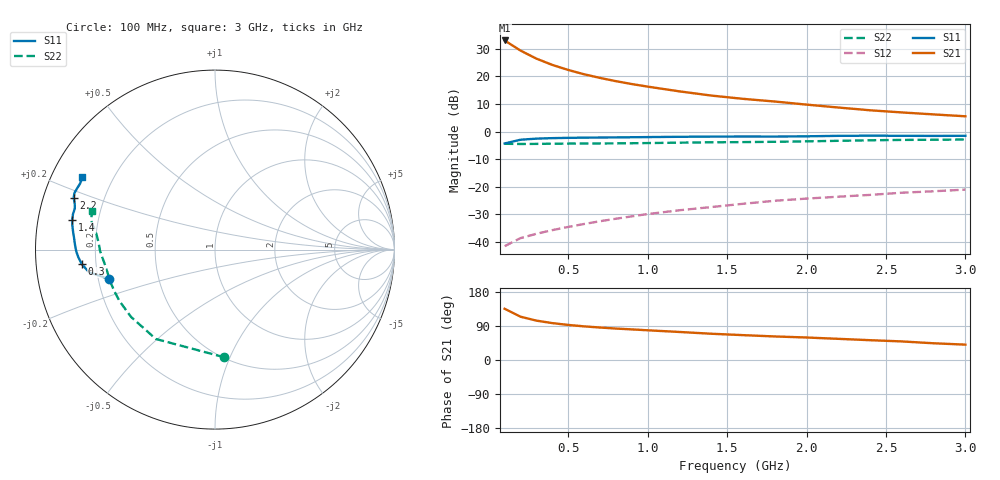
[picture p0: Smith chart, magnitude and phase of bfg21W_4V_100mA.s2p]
! Filename: 4100bfg21.001
! Title: BFG21W
! Bias: Vce=4V; Ic=100mA
! Company: Philips Semiconductors NL
! User: Quality&Reliability T&D
! Measure time: 10 Nov 1999 / 11:45:44
#  MHz  S  MA  R 50
! Freq  S11  S21  S12  S22  :
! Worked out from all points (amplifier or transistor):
!   20 points, 100 MHz to 3 GHz, reference 50 ohm
!   highest |S21| = 33.1 dB at 100 MHz (marker M1)
!   |S21| within 3 dB of that: start of sweep to 181.8 MHz
!   unconditionally stable (mu >= 1): 670.6 MHz to end of sweep
!   at 400 MHz: K = 0.87, MSG = 30.0 dB, |S12| = -35.7 dB
!   at 1.2 GHz: K = 1.06, MAG = 20.0 dB, |S12| = -28.5 dB
!   at 3 GHz: K = 1.05, MAG = 11.9 dB, |S12| = -21.0 dB
!   S11 on the Smith chart (normalised r, x): 100 MHz: 0.25, -0.13; 300 MHz: 0.15, -0.05; 1.4 GHz: 0.10, +0.10; 2.2 GHz: 0.09, +0.18; 3 GHz: 0.09, +0.25
100  0.6106 -164.4  45.01 135.2  0.008377 51.6  0.6023 -85.0
200  0.7129 -169.8  29.51 114.3  0.01172 49.4  0.5971 -123.5
300  0.7469 -173.8  21.08 103.9  0.01404 52.4  0.5995 -141.3
400  0.7623 -176.7  16.22 97.4  0.01636 56.0  0.604 -151.2
500  0.7716 -178.9  13.14 92.5  0.01869 59.2  0.607 -157.5
600  0.7775 179.2  10.98 88.8  0.02114 61.7  0.6091 -161.9
700  0.7819 177.5  9.427 85.7  0.02372 64.1  0.6106 -165.3
800  0.7863 175.8  8.231 83.0  0.02634 66.1  0.6127 -168.2
900  0.7911 174.3  7.298 80.8  0.02906 67.7  0.6162 -170.7
1000  0.7965 172.9  6.551 78.4  0.032 68.7  0.6203 -172.9
1200  0.8063 170.4  5.375 74.0  0.03752 70.1  0.631 -176.5
1400  0.8123 168.3  4.511 69.3  0.04288 70.9  0.6406 -179.4
1600  0.8156 166.1  3.935 65.6  0.04912 71.4  0.646 178.0
1800  0.8139 163.7  3.516 62.1  0.05576 71.7  0.6542 175.4
2000  0.8227 161.8  3.091 59.4  0.06106 72.2  0.6665 172.5
2200  0.8389 159.8  2.737 55.9  0.06606 72.2  0.6816 170.2
2400  0.8443 158.1  2.439 52.3  0.0713 71.4  0.6973 168.5
2600  0.841 156.2  2.229 49.0  0.07799 70.4  0.7074 166.9
2800  0.8369 153.9  2.053 44.1  0.08291 68.8  0.7123 164.9
3000  0.8414 151.4  1.898 40.5  0.08888 67.8  0.7197 162.4
